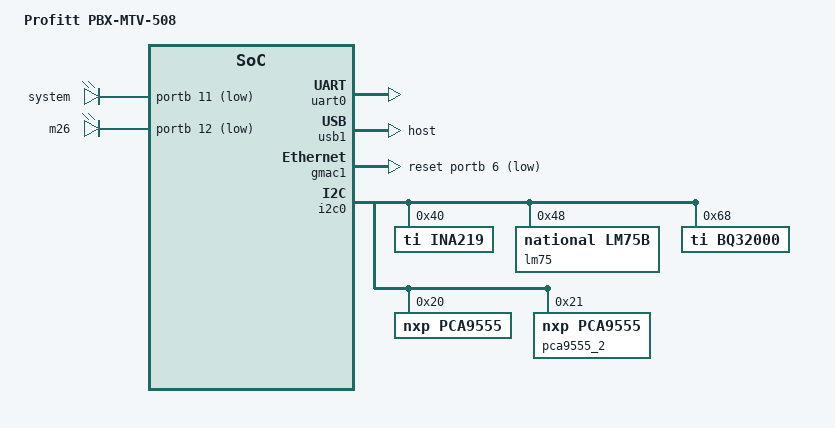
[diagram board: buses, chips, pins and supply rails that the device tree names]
#include "socfpga_cyclone5.dtsi"
#include <dt-bindings/gpio/gpio.h>

/ {
	model = "Profitt PBX-MTV-508";
	compatible = "altr,socfpga-cyclone5", "altr,socfpga";
	
	chosen {
		bootargs = "earlyprintk cma=64M";
		stdout-path = "serial0:115200n8";
	};

	leds {
	        compatible = "gpio-leds";
	        sys {
		        label = "system";
		        gpios = <&portb 11 GPIO_ACTIVE_LOW>;
		        linux,default-trigger = "heartbeat";
	        };
	        m26 {
		        label = "m26";
		        gpios = <&portb 12 GPIO_ACTIVE_LOW>;
	        };
	};

	soc {
		strmem {
                        compatible = "pfrt,str-mem";
                        
						/*0xFF202780 <= физический адрес (регистр) устройства в адресном пространстве процессора
						0x80: Размер (длина) диапазона адресов, занимаемого этим устройством. В данном случае это 128 байт в десятичной системе.
						Данная запись обычно встречается в файлах Device Tree (DTS/DTB), используемых в ядре Linux для описания аппаратного обеспечения.
Запись reg = <0xFF202780 0x80> означает следующее:

* 0xFF202780: Базовый физический адрес (регистр) устройства в адресном пространстве процессора.
* 0x80: Размер (длина) диапазона адресов, занимаемого этим устройством. В данном случае это 128 байт в десятичной системе.

## Контекст (Intel/Altera SoC FPGA)
Этот конкретный адрес (0xFF200000 и выше) характерен для систем на кристалле Intel (Altera) Cyclone V SoC или Arria 10.

* Адрес находится в области Lightweight HPS-to-FPGA Bridge (LW HPS2FPGA).
* Смещение 0x2780 внутри этого моста обычно соответствует периферийному IP-блоку, созданному пользователем в Platform Designer (Qsys), например, контроллеру PIO (Parallel I/O), таймеру или пользовательскому регистру управления.

Как это используется в коде:
Когда драйвер Linux загружается, он считывает эти значения, чтобы отобразить (mmap) физический адрес в виртуальное пространство памяти, позволяя программе управлять аппаратной частью через этот диапазон.
Хотите узнать, как обратиться к этому адресу из программы на C или как изменить его в Qsys?

*/
				reg =   <0xFF202780 0x80>, // REG_HDMI_OUT
				<0xFF20b900 0x80>, // REG_MOSAIC
				<0xFF20b000 0x80>, // REG_FRAMEBUFFER_0
				<0xFF20b100 0x80>, // REG_FRAMEBUFFER_1
				<0xFF20b200 0x80>, // REG_FRAMEBUFFER_2
				<0xFF20b300 0x80>, // REG_FRAMEBUFFER_3
				<0xFF20b400 0x80>, // REG_FRAMEBUFFER_4
				<0xFF20b500 0x80>, // REG_FRAMEBUFFER_5
				<0xFF20b600 0x80>, // REG_FRAMEBUFFER_6
				<0xFF20b700 0x80>, // REG_FRAMEBUFFER_7
				<0xFF209000 0x80>, // REG_SDI_ADAPTER
				<0xFF208000 0x80>, // REG_CVI_0
				<0xFF208080 0x80>, // REG_SCALER_0
				<0xFF208200 0x80>, // REG_CVI_1
				<0xFF208280 0x80>, // REG_SCALER_1 
				<0xFF208400 0x80>, // REG_CVI_2
				<0xFF208480 0x80>, // REG_SCALER_2
				<0xFF208600 0x80>, // REG_CVI_3
				<0xFF208680 0x80>, // REG_SCALER_3
				<0xFF208800 0x80>, // REG_CVI_4
				<0xFF208880 0x80>, // REG_SCALER_4
				<0xFF208a00 0x80>, // REG_CVI_5
				<0xFF208a80 0x80>, // REG_SCALER_5
				<0xFF208c00 0x80>, // REG_CVI_6
				<0xFF208c80 0x80>, // REG_SCALER_6
				<0xFF208e00 0x80>, // REG_CVI_7
				<0xFF208e80 0x80>, // REG_SCALER_7
				<0xFF203000 0x80>, // REG_BUILDID
				<0xFF20b980 0x80>, // REG_BARS
				<0xFF20e100 0x80>, // REG_AUDIO_SELECTOR
				<0xFF208100 0x80>, // REG_MOTION_0
				<0xFF208300 0x80>, // REG_MOTION_1
				<0xFF208500 0x80>, // REG_MOTION_2
				<0xFF208700 0x80>, // REG_MOTION_3
				<0xFF208900 0x80>, // REG_MOTION_4s
				<0xFF208B00 0x80>, // REG_MOTION_5
				<0xFF208D00 0x80>, // REG_MOTION_6
				<0xFF208F00 0x80>, // REG_MOTION_7
				<0xFF20b800 0x80>, // REG_DEI
				<0xFF20b880 0x80> // REG_SDI_CVO
			;

                };
                overlay@0xFF202880 {
                        compatible = "pfrt,overlay";
                        reg = <0xFF202880 0x0030>;
			interrupts = <0x0 0x28 0x4>;
                };
                tsin2@0xFF209840 {
                        compatible = "pfrt,tsin";
                        reg = <0xFF204880 0x0040>;
			interrupts = <0x0 0x29 0x4>;
			index = <1>;
			buf_size = <2048>;
                };
        };

};

&mmc0 {
};

&uart0 {
	status = "okay";
};


&usb1 {
	status = "okay";
	dr_mode = "host";
};

&gpio0 {
	status = "okay";
};

&gpio1 {
	status = "okay";
};

&gmac1 {
	status = "okay";
	snps,reset-gpio = <&portb 6 0>;
	snps,reset-active-low;
};

&i2c0 {
        status = "okay";
        ina219@40 {
                compatible = "ti,ina219";
                reg = <0x40>;
                shunt-resistor = <55000>;
        };
        lm75@48 {
                reg = <0x48>;
                compatible = "national,lm75b";
        };
	bq32000: rtc@68 {
                compatible = "ti,bq32000";
                trickle-resistor-ohms = <1120>;
                reg = <0x68>;
        };
        pca9555: pca9555@20 {
		compatible = "nxp,pca9555";
		gpio-controller;
		#gpio-cells = <2>;
		reg = <0x20>;
	};
	pca9555_2: pca9555@21 {
		compatible = "nxp,pca9555";
		gpio-controller;
		#gpio-cells = <2>;
		reg = <0x21>;
	};
};

&porta {
};

&portb {

};
